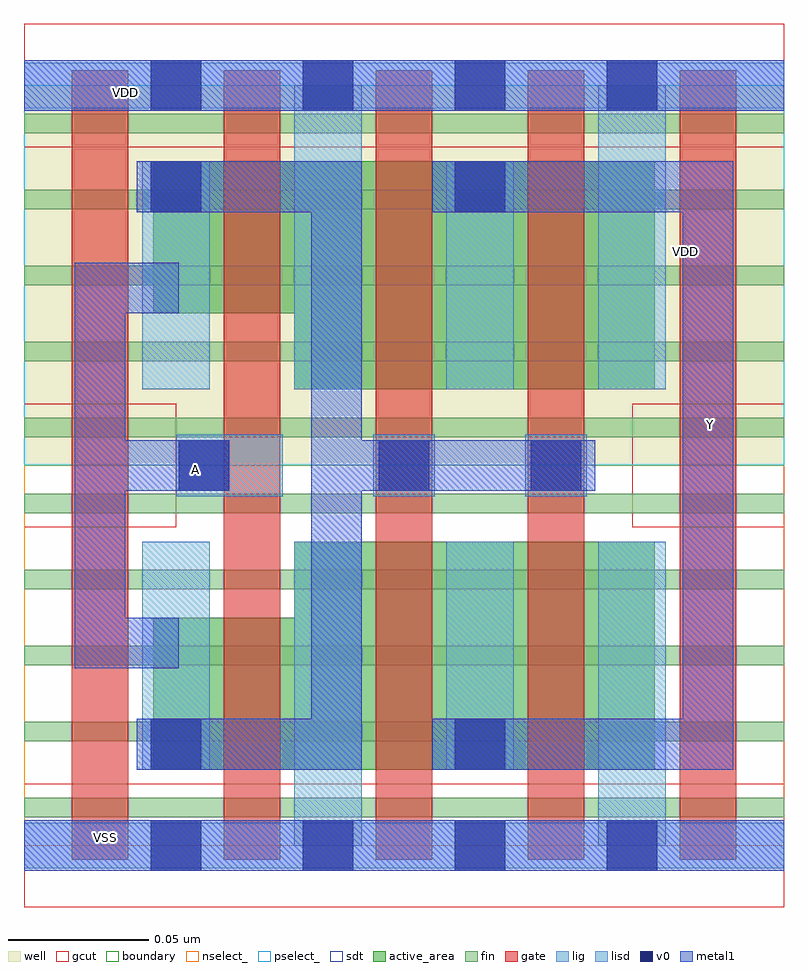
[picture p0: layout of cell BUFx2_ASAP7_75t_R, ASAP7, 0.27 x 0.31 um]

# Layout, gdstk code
import gdstk
lib = gdstk.Library(unit=1e-6, precision=2.5e-10)
def R(c, l, rs):  # rectangles x0, y0, x1, y1
    for r in rs: c.add(gdstk.rectangle(r[:2], r[2:], *l))
def A(c, l, x, y, w, h, nx, ny, dx, dy):  # array of equal rectangles
    R(c, l, [(x+i*dx, y+j*dy, x+i*dx+w, y+j*dy+h) for i in range(nx) for j in range(ny)])
def P(c, l, *ps):  # polygons
    for p in ps: c.add(gdstk.Polygon(p, *l))
well = (1, 0)
fin = (2, 0)
gate = (7, 0)
gcut = (10, 0)
active_area = (11, 0)
nselect_ = (12, 0)
pselect_ = (13, 0)
lig = (16, 0)
lisd = (17, 0)
v0 = (18, 0)
metal1 = (19, 0)
sdt = (88, 0)
boundary = (100, 0)

bufx2_asap7_75t_r = lib.new_cell('BUFx2_ASAP7_75t_R')
R(bufx2_asap7_75t_r, well, [(0,0.135,0.27,0.27)])
A(bufx2_asap7_75t_r, fin, 0, 0.01, 0.27, 0.007, 1, 10, 0, 0.027)
A(bufx2_asap7_75t_r, gate, 0.017, -0.005, 0.02, 0.2805, 5, 1, 0.054, 0)
R(bufx2_asap7_75t_r, gcut, [(0,-0.022,0.27,0.022), (0,0.113,0.054,0.157), (0.216,0.113,0.27,0.157), (0,0.248,0.27,0.292)])
P(bufx2_asap7_75t_r, active_area, [(0.046,0.027),(0.046,0.081),(0.096,0.081),(0.096,0.108),(0.224,0.108),(0.224,0.027)],
  [(0.096,0.162),(0.096,0.189),(0.046,0.189),(0.046,0.243),(0.224,0.243),(0.224,0.162)])
R(bufx2_asap7_75t_r, nselect_, [(0,0,0.27,0.135)])
R(bufx2_asap7_75t_r, pselect_, [(0,0.135,0.27,0.27)])
R(bufx2_asap7_75t_r, lig, [(0,-0.008,0.27,0.008), (0.054,0.124,0.092,0.146), (0.124,0.124,0.146,0.146), (0.178,0.124,0.2,0.146), (0,0.262,0.27,0.278)])
R(bufx2_asap7_75t_r, lisd, [(0.096,0,0.12,0.108), (0.204,0,0.228,0.108), (0.042,0.027,0.066,0.108), (0.15,0.027,0.174,0.108), (0.042,0.162,0.066,0.243), (0.096,0.162,0.12,0.27), (0.15,0.162,0.174,0.243), (0.204,0.162,0.228,0.27)])
A(bufx2_asap7_75t_r, v0, 0.045, -0.009, 0.018, 0.018, 4, 2, 0.054, 0.27)
R(bufx2_asap7_75t_r, v0, [(0.045,0.027,0.063,0.045), (0.153,0.027,0.171,0.045), (0.055,0.126,0.073,0.144), (0.126,0.126,0.144,0.144), (0.18,0.126,0.198,0.144), (0.045,0.225,0.063,0.243), (0.153,0.225,0.171,0.243)])
R(bufx2_asap7_75t_r, metal1, [(0,-0.009,0.27,0.009), (0,0.261,0.27,0.279)])
P(bufx2_asap7_75t_r, metal1, [(0.145,0.027),(0.145,0.045),(0.234,0.045),(0.234,0.225),(0.145,0.225),(0.145,0.243),(0.252,0.243),(0.252,0.027)],
  [(0.04,0.027),(0.04,0.045),(0.102,0.045),(0.102,0.225),(0.04,0.225),(0.04,0.243),(0.12,0.243),(0.12,0.144),(0.203,0.144),(0.203,0.126),(0.12,0.126),(0.12,0.027)],
  [(0.018,0.063),(0.018,0.207),(0.055,0.207),(0.055,0.189),(0.036,0.189),(0.036,0.144),(0.073,0.144),(0.073,0.126),(0.036,0.126),(0.036,0.081),(0.055,0.081),(0.055,0.063)])
A(bufx2_asap7_75t_r, sdt, 0.042, 0.027, 0.024, 0.081, 4, 2, 0.054, 0.135)
R(bufx2_asap7_75t_r, boundary, [(0,0,0.27,0.27)])
bufx2_asap7_75t_r.add(gdstk.Label('VDD', (0.036,0.2675), layer=19, texttype=251))
bufx2_asap7_75t_r.add(gdstk.Label('VSS', (0.029,0.003), layer=19, texttype=251))
bufx2_asap7_75t_r.add(gdstk.Label('A', (0.061,0.1335), layer=19, texttype=251))
bufx2_asap7_75t_r.add(gdstk.Label('Y', (0.244,0.1495), layer=19, texttype=251))
bufx2_asap7_75t_r.add(gdstk.Label('VDD', (0.235,0.211), layer=1, texttype=251))
bufx2_asap7_75t_r.add(gdstk.Label('VSS', (0.304,0.21), layer=3, texttype=251))

lib.write_gds('BUFx2_ASAP7_75t_R.gds')
